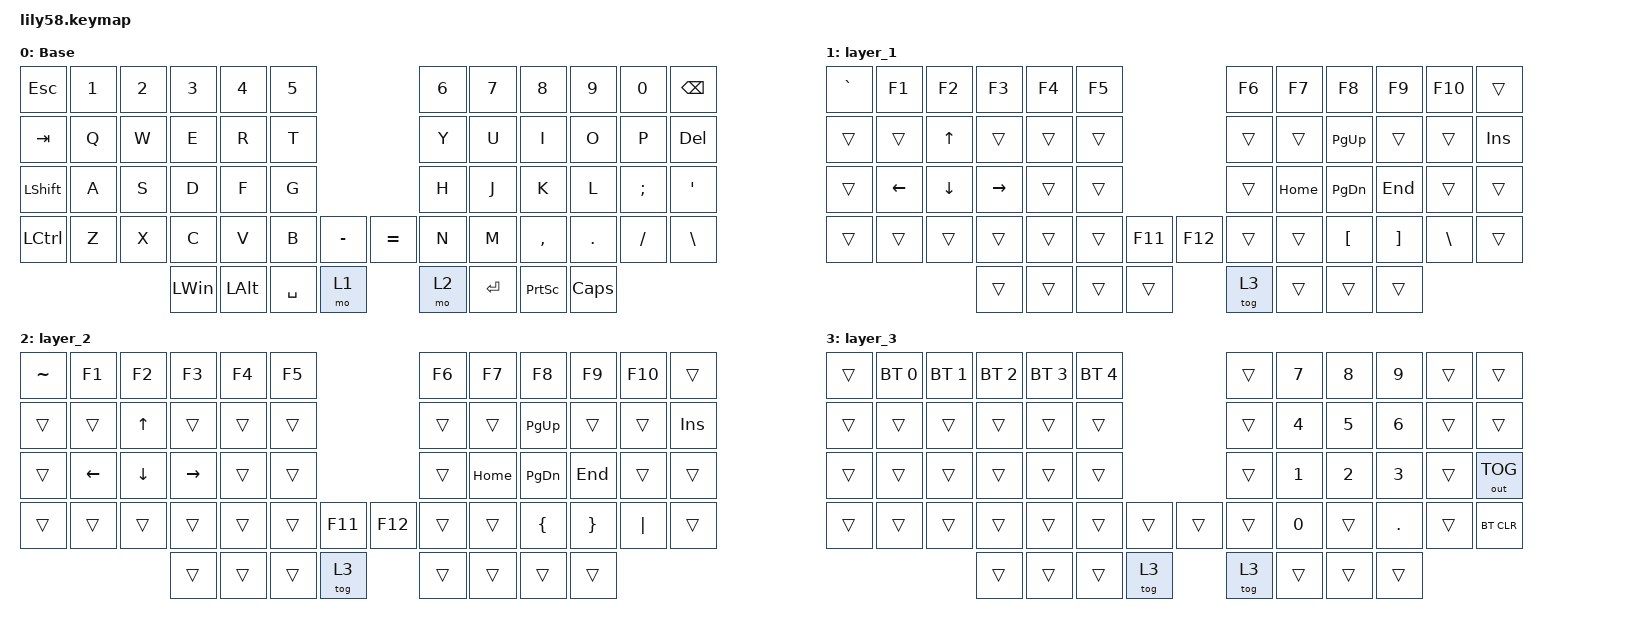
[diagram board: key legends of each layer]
/*
 * Copyright (c) 2020 The ZMK Contributors
 *
 * SPDX-License-Identifier: MIT
 */

#include <behaviors.dtsi>
#include <dt-bindings/zmk/keys.h>
#include <dt-bindings/zmk/bt.h>
#include <dt-bindings/zmk/ext_power.h>
#include <dt-bindings/zmk/outputs.h>

/ {
    keymap {
        compatible = "zmk,keymap";

        default_layer {
            // ------------------------------------------------------------------------------------------------------------
            // |  ESC  |  1  |  2  |  3   |  4   |  5   |                   |  6   |  7    |  8    |  9   |   0   |   `   |
            // |  TAB  |  Q  |  W  |  E   |  R   |  T   |                   |  Y   |  U    |  I    |  O   |   P   |   -   |
            // |  CTRL |  A  |  S  |  D   |  F   |  G   |                   |  H   |  J    |  K    |  L   |   ;   |   '   |
            // | SHIFT |  Z  |  X  |  C   |  V   |  B   |   "["  |  |  "]"  |  N   |  M    |  ,    |  .   |   /   | SHIFT |
            //                     | ALT  | GUI  | LOWER|  SPACE |  | ENTER | RAISE| BSPC  | GUI   |

            display-name = "Base";
            bindings = <
&kp ESC          &kp N1  &kp N2  &kp N3        &kp N4        &kp N5                          &kp N6  &kp N7           &kp N8      &kp N9   &kp N0    &kp BACKSPACE
&kp TAB         &kp Q   &kp W   &kp E         &kp R         &kp T                           &kp Y   &kp U            &kp I       &kp O    &kp P     &kp DEL
&kp LEFT_SHIFT  &kp A   &kp S   &kp D         &kp F         &kp G                           &kp H   &kp J            &kp K       &kp L    &kp SEMI  &kp SQT
&kp LCTRL       &kp Z   &kp X   &kp C         &kp V         &kp B   &kp MINUS    &kp EQUAL  &kp N   &kp M            &kp COMMA   &kp DOT  &kp FSLH  &kp BSLH
                                &kp LEFT_WIN  &kp LEFT_ALT  &kp SPACE    &mo 1   &mo 2   &kp RET    &kp PRINTSCREEN          &kp CAPS
            >;
        };

        layer_1 {
            bindings = <
&kp GRAVE    &kp F1  &kp F2    &kp F3    &kp F4     &kp F5                      &kp F6  &kp F7    &kp F8     &kp F9    &kp F10   &trans
&trans    &trans  &kp UP    &trans    &trans     &trans                      &trans  &trans    &kp PG_UP  &trans    &trans    &kp INS
&trans  &kp LEFT  &kp DOWN  &kp RIGHT  &trans  &trans                      &trans  &kp HOME  &kp PG_DN  &kp END   &trans    &trans
&trans    &trans  &trans    &trans    &trans     &trans  &kp F11    &kp F12  &trans  &trans    &kp LBKT   &kp RBKT  &kp BSLH  &trans
                            &trans    &trans     &trans  &trans     &tog 3   &trans  &trans   &trans
            >;
        };

        layer_2 {
            bindings = <
&kp TILDE        &kp F1  &kp F2    &kp F3    &kp F4     &kp F5                      &kp F6  &kp F7    &kp F8          &kp F9           &kp F10   &trans
&trans        &trans  &kp UP    &trans    &trans     &trans                      &trans  &trans    &kp PG_UP       &trans           &trans    &kp INS
&trans  &kp LEFT  &kp DOWN  &kp RIGHT  &trans  &trans                      &trans  &kp HOME  &kp PG_DN       &kp END          &trans    &trans
&trans        &trans  &trans    &trans    &trans     &trans  &kp F11    &kp F12  &trans  &trans    &kp LEFT_BRACE  &kp RIGHT_BRACE  &kp PIPE  &trans
                                &trans    &trans     &trans  &tog 3     &trans   &trans  &trans    &trans
            >;
        };

        layer_3 {
            bindings = <
&trans  &bt BT_SEL 0  &bt BT_SEL 1  &bt BT_SEL 2  &bt BT_SEL 3  &bt BT_SEL 4                            &trans  &kp N7  &kp N8  &kp N9   &trans  &trans
&trans          &trans        &trans        &trans        &trans        &trans                          &trans  &kp N4  &kp N5  &kp N6   &trans  &trans
&trans          &trans        &trans        &trans        &trans        &trans                          &trans  &kp N1  &kp N2  &kp N3   &trans  &out OUT_TOG
&trans          &trans        &trans        &trans        &trans        &trans        &trans    &trans  &trans  &kp N0  &trans  &kp DOT  &trans  &bt BT_CLR
                                            &trans        &trans        &trans        &tog 3    &tog 3  &trans  &trans  &trans
            >;
        };

        extra_1 {
            status = "reserved";
        };

        extra_2 {
            status = "reserved";
        };

        extra_3 {
            status = "reserved";
        };
    };
};
